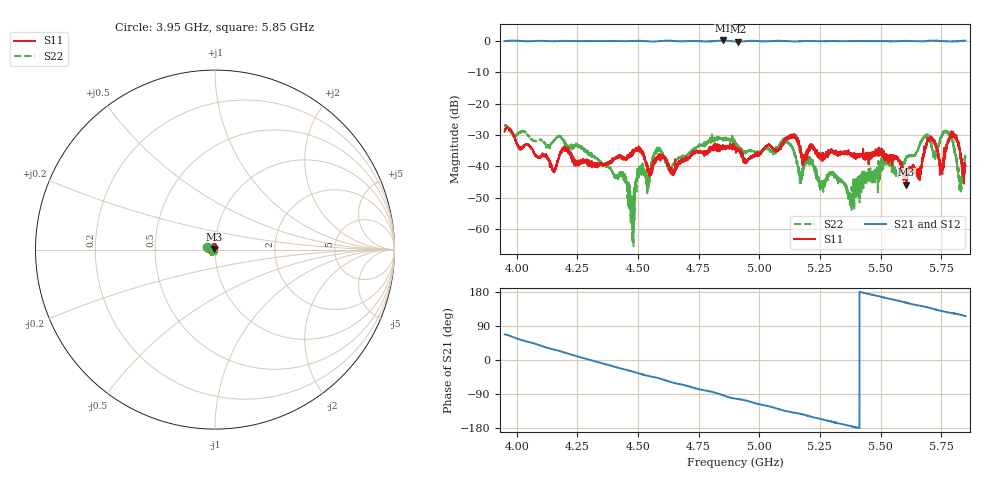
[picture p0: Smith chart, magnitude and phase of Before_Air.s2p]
# GHZ S RI R 50.000000000000
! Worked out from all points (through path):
!   4501 points, 3.95 GHz to 5.85 GHz, reference 50 ohm
!   highest |S21| = 0.11 dB at 4.852 GHz (marker M1); lowest = -0.3 dB at 4.914 GHz (marker M2)
!   group delay of S21, straight-line fit = 451 ps
!   lowest |S11| = -45.8 dB at 5.606 GHz (marker M3), VSWR 1.01, Z = 49.7 + j0.395 ohm
!   |S11| at or under -10 dB: start of sweep to end of sweep
!   |S22| runs from -65.5 to -26.9 dB; largest |S21 - S12| = 0.022
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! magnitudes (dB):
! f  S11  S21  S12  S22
! 3.95 GHz  -29.0  -0.1  -0.1  -26.9
! 4.153 GHz  -41.6  -0.1  -0.1  -32.1
! 4.196 GHz  -34.4  0.0  0.0  -32.2
! 4.267 GHz  -38.4  -0.1  -0.1  -34.0
! 4.44 GHz  -37.7  -0.1  -0.1  -42.9
! 4.477 GHz  -36.6  0.0  0.0  -57.1
! 4.504 GHz  -34.8  0.0  0.0  -42.6
! 4.542 GHz  -41.0  -0.1  -0.1  -45.0
! 4.584 GHz  -37.0  -0.1  -0.2  -34.8
! 4.632 GHz  -41.0  0.0  0.0  -40.5
! 4.852 GHz  -33.7  0.1  0.1  -31.2
! 4.9 GHz  -34.7  -0.2  -0.1  -32.5
! 4.914 GHz  -34.5  -0.3  -0.2  -34.1
! 5.217 GHz  -33.6  -0.1  0.0  -39.4
! 5.376 GHz  -36.1  -0.1  -0.1  -50.0
! 5.534 GHz  -38.0  -0.1  -0.1  -38.8
! 5.606 GHz  -45.8  0.0  0.0  -37.3
! 5.702 GHz  -31.0  0.0  0.0  -32.1
! 5.753 GHz  -41.1  -0.1  -0.1  -30.0
! 5.796 GHz  -30.2  -0.2  -0.3  -32.1
! 5.827 GHz  -34.5  -0.1  -0.1  -47.0
! 5.85 GHz  -39.9  0.0  0.1  -37.4
